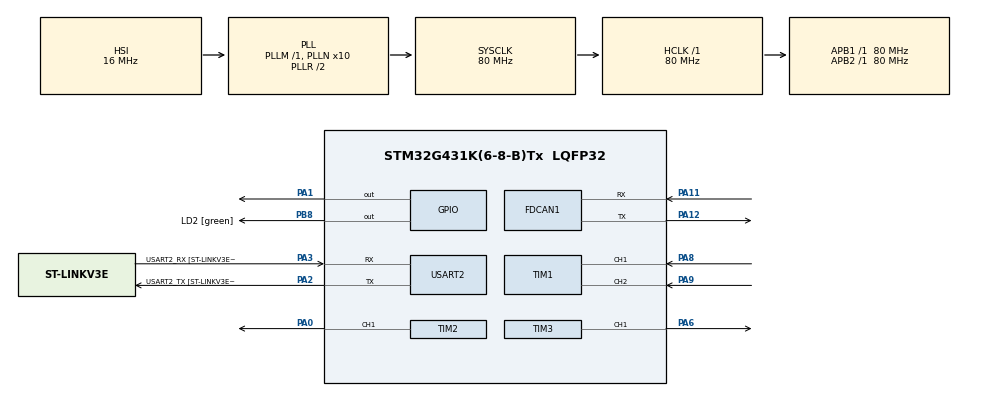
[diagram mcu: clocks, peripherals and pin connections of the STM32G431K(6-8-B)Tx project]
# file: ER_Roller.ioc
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FDCAN1.CalculateBaudRateNominal=1000000
FDCAN1.CalculateTimeBitNominal=1000
FDCAN1.CalculateTimeQuantumNominal=62.5
FDCAN1.DataPrescaler=2
FDCAN1.DataSyncJumpWidth=2
FDCAN1.DataTimeSeg1=10
FDCAN1.DataTimeSeg2=9
FDCAN1.FrameFormat=FDCAN_FRAME_FD_NO_BRS
FDCAN1.NominalPrescaler=5
FDCAN1.NominalSyncJumpWidth=2
FDCAN1.NominalTimeSeg1=13
FDCAN1.StdFiltersNbr=1
Mcu.Family=STM32G4
Mcu.Name=STM32G431K(6-8-B)Tx
Mcu.Package=LQFP32
NVIC.FDCAN1_IT0_IRQn=true\:0\:0\:false\:false\:true\:true\:true\:true
NVIC.PriorityGroup=NVIC_PRIORITYGROUP_4
NVIC.TIM6_DAC_IRQn=true\:0\:0\:false\:false\:true\:true\:true\:true
PA0.Signal=S_TIM2_CH1
PA1.Signal=GPIO_Output
PA11.Mode=FDCAN_Activate
PA11.Signal=FDCAN1_RX
PA12.Mode=FDCAN_Activate
PA12.Signal=FDCAN1_TX
PA13.GPIO_Label=T_SWDIO
PA13.Mode=Serial_Wire
PA13.Signal=SYS_JTMS-SWDIO
PA14.GPIO_Label=T_SWCLK
PA14.Mode=Serial_Wire
PA14.Signal=SYS_JTCK-SWCLK
PA2.GPIO_Label=USART2_TX [ST-LINKV3E_VCP_RX]
PA2.Mode=Asynchronous
PA2.Signal=USART2_TX
PA3.GPIO_Label=USART2_RX [ST-LINKV3E_VCP_TX]
PA3.Mode=Asynchronous
PA3.Signal=USART2_RX
PA6.Signal=S_TIM3_CH1
PA8.Signal=S_TIM1_CH1
PA9.Signal=S_TIM1_CH2
PB3.GPIO_Label=T_SWO
PB3.Signal=SYS_JTDO-SWO
PB8-BOOT0.GPIO_Label=LD2 [green]
PB8-BOOT0.Signal=GPIO_Output
ProjectManager.HeapSize=0x200
ProjectManager.StackSize=0x400
ProjectManager.TargetToolchain=STM32CubeIDE
RCC.ADC12Freq_Value=80000000
RCC.AHBFreq_Value=80000000
RCC.APB1Freq_Value=80000000
RCC.APB1TimFreq_Value=80000000
RCC.APB2Freq_Value=80000000
RCC.APB2TimFreq_Value=80000000
RCC.CortexFreq_Value=80000000
RCC.EXTERNAL_CLOCK_VALUE=12288000
RCC.HCLKFreq_Value=80000000
RCC.HSE_VALUE=8000000
RCC.HSI48_VALUE=48000000
RCC.HSI_VALUE=16000000
RCC.LSE_VALUE=32768
RCC.PLLN=10
RCC.SYSCLKFreq_VALUE=80000000
RCC.SYSCLKSource=RCC_SYSCLKSOURCE_PLLCLK
RCC.USBFreq_Value=80000000
RCC.VCOOutputFreq_Value=160000000
SH.S_TIM1_CH1.0=TIM1_CH1,Encoder_Interface
SH.S_TIM1_CH2.0=TIM1_CH2,Encoder_Interface
SH.S_TIM2_CH1.0=TIM2_CH1,PWM Generation1 CH1
SH.S_TIM3_CH1.0=TIM3_CH1,PWM Generation1 CH1
TIM1.EncoderMode=TIM_ENCODERMODE_TI12
TIM2.Channel-PWM\ Generation1\ CH1=TIM_CHANNEL_1
TIM2.PeriodNoDither=999
TIM2.Prescaler=7
TIM3.Channel-PWM\ Generation1\ CH1=TIM_CHANNEL_1
TIM3.PeriodNoDither=99
TIM3.Prescaler=79
TIM6.PeriodNoDither=1999
TIM6.Prescaler=79
USART2.VirtualMode-Asynchronous=VM_ASYNC
USART2.WordLength=WORDLENGTH_8B
VP_TIM2_VS_ClockSourceINT.Mode=Internal
VP_TIM3_VS_ClockSourceINT.Mode=Internal
VP_TIM6_VS_ClockSourceINT.Mode=Enable_Timer
board=NUCLEO-G431KB

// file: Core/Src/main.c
/* USER CODE BEGIN Header */
/**
  ******************************************************************************
  * @file           : main.c
  * @brief          : Main program body
  ******************************************************************************
  * @attention
  *
  * Copyright (c) 2023 STMicroelectronics.
  * All rights reserved.
  *
  * This software is licensed under terms that can be found in the LICENSE file
  * in the root directory of this software component.
  * If no LICENSE file comes with this software, it is provided AS-IS.
  *
  ******************************************************************************
  */
/* USER CODE END Header */
#include "main.h"

/* USER CODE BEGIN Includes */
#include <stdio.h>
#include <stdlib.h>
#include <math.h>
/* USER CODE END Includes */

FDCAN_HandleTypeDef hfdcan1;

TIM_HandleTypeDef htim1;
TIM_HandleTypeDef htim2;
TIM_HandleTypeDef htim3;
TIM_HandleTypeDef htim6;

UART_HandleTypeDef huart2;

/* USER CODE BEGIN PV */
FDCAN_TxHeaderTypeDef TxHeader;
FDCAN_RxHeaderTypeDef RxHeader;
FDCAN_FilterTypeDef sFilterConfig;

uint8_t TxData[1];
uint8_t RxData[4];
uint32_t TxMailbox;
/* USER CODE END PV */

void SystemClock_Config(void);
static void MX_GPIO_Init(void);
static void MX_USART2_UART_Init(void);
static void MX_TIM1_Init(void);
static void MX_TIM2_Init(void);
static void MX_TIM6_Init(void);
static void MX_TIM3_Init(void);
static void MX_FDCAN1_Init(void);

/* USER CODE BEGIN 0 */
float dt = 2;  		//dt [ms]
float v = 0;   		//v [m/s]
float v_ref = 6; 	//v_ref (receive from CAN) [m/s]

float v_ref_roller = 0; 	//v_ref [m/s]
float k_v = -0.0115;		//k_v = v/(kcount/s)
float fil = 0.2;		//filter

int pwm = 0;

//gains
float kp = 0;

int __io_putchar(int ch) {
    HAL_UART_Transmit(&huart2, (uint8_t *)&ch, 1, 100);
    return ch;
}
int16_t read_encoder_value(void)
{
  uint16_t enc_buff = TIM1->CNT;
  TIM1->CNT = 0;
  return (int16_t)enc_buff;
}
void HAL_TIM_PeriodElapsedCallback(TIM_HandleTypeDef *htim)
{
	//feed back control
    if (htim == &htim6){
    	v_ref_roller = 1.6312*v_ref + 1.0809;
    	v += fil*(k_v*read_encoder_value()/dt - v);
    	//printf("%.2f\r\n",v);
    	//P control
    	pwm = (int)((v_ref - 0.1861)/0.0146 + kp*(v_ref_roller - v));

    	//decide rotational direction
    	/*
    	if(pwm > 0){
    		HAL_GPIO_WritePin(GPIOA, GPIO_PIN_1,1);
    	}else{
    		HAL_GPIO_WritePin(GPIOA, GPIO_PIN_1,0);
    	}
    	*/
    	pwm = abs(pwm);
    	//limit pwm
    	if(pwm < 0){
    	   pwm = 0;
    	}else if(pwm > 980){
    	   pwm = 980;
    	}
    	pwm = 1000 - pwm;
    	//pwm = 350;
    	HAL_GPIO_WritePin(GPIOA, GPIO_PIN_1,0);
    }

}
/* USER CODE END 0 */

int main(void)
{

  /* MCU Configuration--------------------------------------------------------*/

  /* Reset of all peripherals, Initializes the Flash interface and the Systick. */
  HAL_Init();

  /* Configure the system clock */
  SystemClock_Config();

  /* Initialize all configured peripherals */
  MX_GPIO_Init();
  MX_USART2_UART_Init();
  MX_TIM1_Init();
  MX_TIM2_Init();
  MX_TIM6_Init();
  MX_TIM3_Init();
  MX_FDCAN1_Init();
  /* USER CODE BEGIN 2 */
  setbuf(stdout,NULL);
  //HAL_TIM_Base_Start_IT(&htim2);
  HAL_TIM_Encoder_Start(&htim1,TIM_CHANNEL_ALL);
  HAL_TIM_Base_Start_IT(&htim6);
  HAL_TIM_PWM_Start(&htim2,TIM_CHANNEL_1);

    TxHeader.Identifier = 0x512;
    TxHeader.IdType = FDCAN_STANDARD_ID;
    TxHeader.TxFrameType = FDCAN_DATA_FRAME;
    TxHeader.DataLength = FDCAN_DLC_BYTES_1;
    TxHeader.ErrorStateIndicator = FDCAN_ESI_ACTIVE;
    TxHeader.BitRateSwitch = FDCAN_BRS_ON;
    TxHeader.FDFormat = FDCAN_FD_CAN;
    TxHeader.TxEventFifoControl = FDCAN_NO_TX_EVENTS;
    TxHeader.MessageMarker = 0;

    FDCAN_FilterTypeDef sFilterConfig;
    sFilterConfig.IdType = FDCAN_STANDARD_ID;
    sFilterConfig.FilterIndex = 0;
    sFilterConfig.FilterType = FDCAN_FILTER_DUAL;
    sFilterConfig.FilterConfig = FDCAN_FILTER_TO_RXFIFO0;
    sFilterConfig.FilterID1 = 0x051;
    sFilterConfig.FilterID2 = 0x201;

    if (HAL_FDCAN_ConfigFilter(&hfdcan1, &sFilterConfig) != HAL_OK) {
        Error_Handler();
    }
    if (HAL_FDCAN_ConfigGlobalFilter(&hfdcan1, FDCAN_REJECT, FDCAN_REJECT, FDCAN_FILTER_REMOTE, FDCAN_FILTER_REMOTE) !=
        HAL_OK) {
        Error_Handler();
    }

    /* Start the FDCAN module */
    if (HAL_FDCAN_Start(&hfdcan1) != HAL_OK) {
        Error_Handler();
    }
    if (HAL_FDCAN_ActivateNotification(&hfdcan1, FDCAN_IT_RX_FIFO0_NEW_MESSAGE, 0) != HAL_OK){
        Error_Handler();
    }
  /* USER CODE END 2 */

  /* Infinite loop */
  /* USER CODE BEGIN WHILE */

  while (1)
  {
	  __HAL_TIM_SET_COMPARE(&htim2,TIM_CHANNEL_1,pwm);
    /* USER CODE END WHILE */

  }
}

void SystemClock_Config(void)
{
  RCC_OscInitTypeDef RCC_OscInitStruct = {0};
  RCC_ClkInitTypeDef RCC_ClkInitStruct = {0};

  /** Configure the main internal regulator output voltage
  */
  HAL_PWREx_ControlVoltageScaling(PWR_REGULATOR_VOLTAGE_SCALE1);

  /** Initializes the RCC Oscillators according to the specified parameters
  * in the RCC_OscInitTypeDef structure.
  */
  RCC_OscInitStruct.OscillatorType = RCC_OSCILLATORTYPE_HSI;
  RCC_OscInitStruct.HSIState = RCC_HSI_ON;
  RCC_OscInitStruct.HSICalibrationValue = RCC_HSICALIBRATION_DEFAULT;
  RCC_OscInitStruct.PLL.PLLState = RCC_PLL_ON;
  RCC_OscInitStruct.PLL.PLLSource = RCC_PLLSOURCE_HSI;
  RCC_OscInitStruct.PLL.PLLM = RCC_PLLM_DIV1;
  RCC_OscInitStruct.PLL.PLLN = 10;
  RCC_OscInitStruct.PLL.PLLP = RCC_PLLP_DIV2;
  RCC_OscInitStruct.PLL.PLLQ = RCC_PLLQ_DIV2;
  RCC_OscInitStruct.PLL.PLLR = RCC_PLLR_DIV2;
  if (HAL_RCC_OscConfig(&RCC_OscInitStruct) != HAL_OK)
  {
    Error_Handler();
  }

  /** Initializes the CPU, AHB and APB buses clocks
  */
  RCC_ClkInitStruct.ClockType = RCC_CLOCKTYPE_HCLK|RCC_CLOCKTYPE_SYSCLK
                              |RCC_CLOCKTYPE_PCLK1|RCC_CLOCKTYPE_PCLK2;
  RCC_ClkInitStruct.SYSCLKSource = RCC_SYSCLKSOURCE_PLLCLK;
  RCC_ClkInitStruct.AHBCLKDivider = RCC_SYSCLK_DIV1;
  RCC_ClkInitStruct.APB1CLKDivider = RCC_HCLK_DIV1;
  RCC_ClkInitStruct.APB2CLKDivider = RCC_HCLK_DIV1;

  if (HAL_RCC_ClockConfig(&RCC_ClkInitStruct, FLASH_LATENCY_2) != HAL_OK)
  {
    Error_Handler();
  }
}

static void MX_FDCAN1_Init(void)
{

  hfdcan1.Instance = FDCAN1;
  hfdcan1.Init.ClockDivider = FDCAN_CLOCK_DIV1;
  hfdcan1.Init.FrameFormat = FDCAN_FRAME_FD_NO_BRS;
  hfdcan1.Init.Mode = FDCAN_MODE_NORMAL;
  hfdcan1.Init.AutoRetransmission = DISABLE;
  hfdcan1.Init.TransmitPause = DISABLE;
  hfdcan1.Init.ProtocolException = DISABLE;
  hfdcan1.Init.NominalPrescaler = 5;
  hfdcan1.Init.NominalSyncJumpWidth = 2;
  hfdcan1.Init.NominalTimeSeg1 = 13;
  hfdcan1.Init.NominalTimeSeg2 = 2;
  hfdcan1.Init.DataPrescaler = 2;
  hfdcan1.Init.DataSyncJumpWidth = 2;
  hfdcan1.Init.DataTimeSeg1 = 10;
  hfdcan1.Init.DataTimeSeg2 = 9;
  hfdcan1.Init.StdFiltersNbr = 1;
  hfdcan1.Init.ExtFiltersNbr = 0;
  hfdcan1.Init.TxFifoQueueMode = FDCAN_TX_FIFO_OPERATION;
  if (HAL_FDCAN_Init(&hfdcan1) != HAL_OK)
  {
    Error_Handler();
  }

}

static void MX_TIM1_Init(void)
{

  TIM_Encoder_InitTypeDef sConfig = {0};
  TIM_MasterConfigTypeDef sMasterConfig = {0};

  htim1.Instance = TIM1;
  htim1.Init.Prescaler = 0;
  htim1.Init.CounterMode = TIM_COUNTERMODE_UP;
  htim1.Init.Period = 65535;
  htim1.Init.ClockDivision = TIM_CLOCKDIVISION_DIV1;
  htim1.Init.RepetitionCounter = 0;
  htim1.Init.AutoReloadPreload = TIM_AUTORELOAD_PRELOAD_DISABLE;
  sConfig.EncoderMode = TIM_ENCODERMODE_TI12;
  sConfig.IC1Polarity = TIM_ICPOLARITY_RISING;
  sConfig.IC1Selection = TIM_ICSELECTION_DIRECTTI;
  sConfig.IC1Prescaler = TIM_ICPSC_DIV1;
  sConfig.IC1Filter = 0;
  sConfig.IC2Polarity = TIM_ICPOLARITY_RISING;
  sConfig.IC2Selection = TIM_ICSELECTION_DIRECTTI;
  sConfig.IC2Prescaler = TIM_ICPSC_DIV1;
  sConfig.IC2Filter = 0;
  if (HAL_TIM_Encoder_Init(&htim1, &sConfig) != HAL_OK)
  {
    Error_Handler();
  }
  sMasterConfig.MasterOutputTrigger = TIM_TRGO_RESET;
  sMasterConfig.MasterOutputTrigger2 = TIM_TRGO2_RESET;
  sMasterConfig.MasterSlaveMode = TIM_MASTERSLAVEMODE_DISABLE;
  if (HAL_TIMEx_MasterConfigSynchronization(&htim1, &sMasterConfig) != HAL_OK)
  {
    Error_Handler();
  }

}

static void MX_TIM2_Init(void)
{

  TIM_ClockConfigTypeDef sClockSourceConfig = {0};
  TIM_MasterConfigTypeDef sMasterConfig = {0};
  TIM_OC_InitTypeDef sConfigOC = {0};

  htim2.Instance = TIM2;
  htim2.Init.Prescaler = 7;
  htim2.Init.CounterMode = TIM_COUNTERMODE_UP;
  htim2.Init.Period = 999;
  htim2.Init.ClockDivision = TIM_CLOCKDIVISION_DIV1;
  htim2.Init.AutoReloadPreload = TIM_AUTORELOAD_PRELOAD_DISABLE;
  if (HAL_TIM_Base_Init(&htim2) != HAL_OK)
  {
    Error_Handler();
  }
  sClockSourceConfig.ClockSource = TIM_CLOCKSOURCE_INTERNAL;
  if (HAL_TIM_ConfigClockSource(&htim2, &sClockSourceConfig) != HAL_OK)
  {
    Error_Handler();
  }
  if (HAL_TIM_PWM_Init(&htim2) != HAL_OK)
  {
    Error_Handler();
  }
  sMasterConfig.MasterOutputTrigger = TIM_TRGO_RESET;
  sMasterConfig.MasterSlaveMode = TIM_MASTERSLAVEMODE_DISABLE;
  if (HAL_TIMEx_MasterConfigSynchronization(&htim2, &sMasterConfig) != HAL_OK)
  {
    Error_Handler();
  }
  sConfigOC.OCMode = TIM_OCMODE_PWM1;
  sConfigOC.Pulse = 0;
  sConfigOC.OCPolarity = TIM_OCPOLARITY_HIGH;
  sConfigOC.OCFastMode = TIM_OCFAST_DISABLE;
  if (HAL_TIM_PWM_ConfigChannel(&htim2, &sConfigOC, TIM_CHANNEL_1) != HAL_OK)
  {
    Error_Handler();
  }
  HAL_TIM_MspPostInit(&htim2);

}

static void MX_TIM3_Init(void)
{

  TIM_ClockConfigTypeDef sClockSourceConfig = {0};
  TIM_MasterConfigTypeDef sMasterConfig = {0};
  TIM_OC_InitTypeDef sConfigOC = {0};

  htim3.Instance = TIM3;
  htim3.Init.Prescaler = 79;
  htim3.Init.CounterMode = TIM_COUNTERMODE_UP;
  htim3.Init.Period = 99;
  htim3.Init.ClockDivision = TIM_CLOCKDIVISION_DIV1;
  htim3.Init.AutoReloadPreload = TIM_AUTORELOAD_PRELOAD_DISABLE;
  if (HAL_TIM_Base_Init(&htim3) != HAL_OK)
  {
    Error_Handler();
  }
  sClockSourceConfig.ClockSource = TIM_CLOCKSOURCE_INTERNAL;
  if (HAL_TIM_ConfigClockSource(&htim3, &sClockSourceConfig) != HAL_OK)
  {
    Error_Handler();
  }
  if (HAL_TIM_PWM_Init(&htim3) != HAL_OK)
  {
    Error_Handler();
  }
  sMasterConfig.MasterOutputTrigger = TIM_TRGO_RESET;
  sMasterConfig.MasterSlaveMode = TIM_MASTERSLAVEMODE_DISABLE;
  if (HAL_TIMEx_MasterConfigSynchronization(&htim3, &sMasterConfig) != HAL_OK)
  {
    Error_Handler();
  }
  sConfigOC.OCMode = TIM_OCMODE_PWM1;
  sConfigOC.Pulse = 0;
  sConfigOC.OCPolarity = TIM_OCPOLARITY_HIGH;
  sConfigOC.OCFastMode = TIM_OCFAST_DISABLE;
  if (HAL_TIM_PWM_ConfigChannel(&htim3, &sConfigOC, TIM_CHANNEL_1) != HAL_OK)
  {
    Error_Handler();
  }
  HAL_TIM_MspPostInit(&htim3);

}

static void MX_TIM6_Init(void)
{

  TIM_MasterConfigTypeDef sMasterConfig = {0};

  htim6.Instance = TIM6;
  htim6.Init.Prescaler = 79;
  htim6.Init.CounterMode = TIM_COUNTERMODE_UP;
  htim6.Init.Period = 1999;
  htim6.Init.AutoReloadPreload = TIM_AUTORELOAD_PRELOAD_DISABLE;
  if (HAL_TIM_Base_Init(&htim6) != HAL_OK)
  {
    Error_Handler();
  }
  sMasterConfig.MasterOutputTrigger = TIM_TRGO_RESET;
  sMasterConfig.MasterSlaveMode = TIM_MASTERSLAVEMODE_DISABLE;
  if (HAL_TIMEx_MasterConfigSynchronization(&htim6, &sMasterConfig) != HAL_OK)
  {
    Error_Handler();
  }

}

static void MX_USART2_UART_Init(void)
{

  huart2.Instance = USART2;
  huart2.Init.BaudRate = 115200;
  huart2.Init.WordLength = UART_WORDLENGTH_8B;
  huart2.Init.StopBits = UART_STOPBITS_1;
  huart2.Init.Parity = UART_PARITY_NONE;
  huart2.Init.Mode = UART_MODE_TX_RX;
  huart2.Init.HwFlowCtl = UART_HWCONTROL_NONE;
  huart2.Init.OverSampling = UART_OVERSAMPLING_16;
  huart2.Init.OneBitSampling = UART_ONE_BIT_SAMPLE_DISABLE;
  huart2.Init.ClockPrescaler = UART_PRESCALER_DIV1;
  huart2.AdvancedInit.AdvFeatureInit = UART_ADVFEATURE_NO_INIT;
  if (HAL_UART_Init(&huart2) != HAL_OK)
  {
    Error_Handler();
  }
  if (HAL_UARTEx_SetTxFifoThreshold(&huart2, UART_TXFIFO_THRESHOLD_1_8) != HAL_OK)
  {
    Error_Handler();
  }
  if (HAL_UARTEx_SetRxFifoThreshold(&huart2, UART_RXFIFO_THRESHOLD_1_8) != HAL_OK)
  {
    Error_Handler();
  }
  if (HAL_UARTEx_DisableFifoMode(&huart2) != HAL_OK)
  {
    Error_Handler();
  }

}

static void MX_GPIO_Init(void)
{
  GPIO_InitTypeDef GPIO_InitStruct = {0};

  /* GPIO Ports Clock Enable */
  __HAL_RCC_GPIOA_CLK_ENABLE();
  __HAL_RCC_GPIOB_CLK_ENABLE();

  /*Configure GPIO pin Output Level */
  HAL_GPIO_WritePin(GPIOA, GPIO_PIN_1, GPIO_PIN_RESET);

  /*Configure GPIO pin Output Level */
  HAL_GPIO_WritePin(LD2_GPIO_Port, LD2_Pin, GPIO_PIN_RESET);

  /*Configure GPIO pin : PA1 */
  GPIO_InitStruct.Pin = GPIO_PIN_1;
  GPIO_InitStruct.Mode = GPIO_MODE_OUTPUT_PP;
  GPIO_InitStruct.Pull = GPIO_NOPULL;
  GPIO_InitStruct.Speed = GPIO_SPEED_FREQ_LOW;
  HAL_GPIO_Init(GPIOA, &GPIO_InitStruct);

  /*Configure GPIO pin : LD2_Pin */
  GPIO_InitStruct.Pin = LD2_Pin;
  GPIO_InitStruct.Mode = GPIO_MODE_OUTPUT_PP;
  GPIO_InitStruct.Pull = GPIO_NOPULL;
  GPIO_InitStruct.Speed = GPIO_SPEED_FREQ_LOW;
  HAL_GPIO_Init(LD2_GPIO_Port, &GPIO_InitStruct);

}

/* USER CODE BEGIN 4 */
void HAL_FDCAN_RxFifo0Callback(FDCAN_HandleTypeDef *hfdcan1, uint32_t RxFifo0ITs) {
    if ((RxFifo0ITs & FDCAN_IT_RX_FIFO0_NEW_MESSAGE) != RESET) {
        /* Retrieve Rx messages from RX FIFO0 */
        if (HAL_FDCAN_GetRxMessage(hfdcan1, FDCAN_RX_FIFO0, &RxHeader, RxData) != HAL_OK) {
            Error_Handler();
        }

        if ((RxHeader.Identifier == 0x201)) {
            union {
                uint8_t bytes[4];
                float data;
            }Velocity_Data;
            for (int i = 0; i < 4; ++i) {
                Velocity_Data.data[i] = RxData[i]
            }
            v_ref = Velocity_Data.data;
        }
        if ((RxHeader.Identifier == 0x051)) {
            v_ref = 0;
        }
    }
}
/* USER CODE END 4 */

void Error_Handler(void)
{
  __disable_irq();
  while (1)
  {
  }
}
